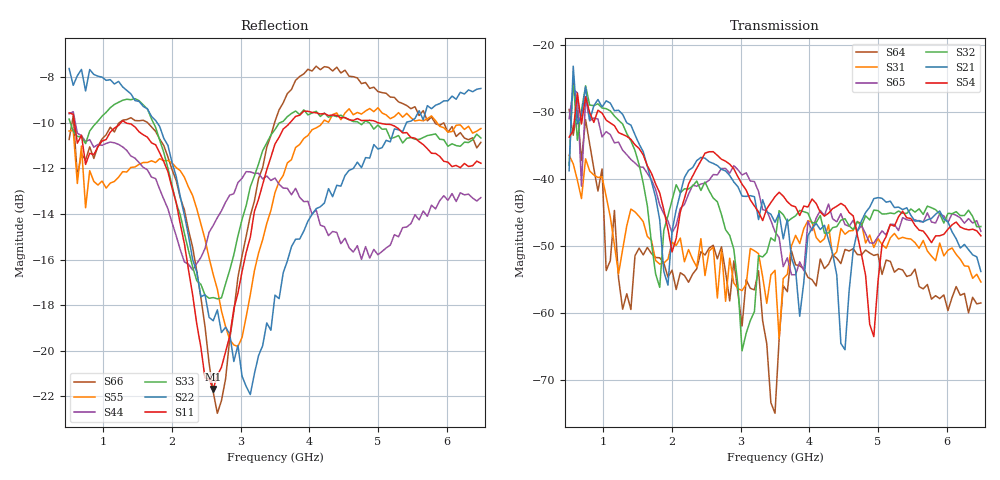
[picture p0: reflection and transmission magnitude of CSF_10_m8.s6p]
!Keysight Technologies,M9804A,MY58100912,A.14.10.03
!Date: Thursday, April 27, 2023 10:28:33
!Correction: S11(C  6-Port  )
!S12(C  6-Port  )
!S13(C  6-Port  )
!S14(C  6-Port  )
!S15(C  6-Port  )
!S16(C  6-Port  )
!S21(C  6-Port  )
!S22(C  6-Port  )
!S23(C  6-Port  )
!S24(C  6-Port  )
!S25(C  6-Port  )
!S26(C  6-Port  )
!S31(C  6-Port  )
!S32(C  6-Port  )
!S33(C  6-Port  )
!S34(C  6-Port  )
!S35(C  6-Port  )
!S36(C  6-Port  )
!S41(C  6-Port  )
!S42(C  6-Port  )
!S43(C  6-Port  )
!S44(C  6-Port  )
!S45(C  6-Port  )
!S46(C  6-Port  )
!S51(C  6-Port  )
!S52(C  6-Port  )
!S53(C  6-Port  )
!S54(C  6-Port  )
!S55(C  6-Port  )
!S56(C  6-Port  )
!S61(C  6-Port  )
!S62(C  6-Port  )
!S63(C  6-Port  )
!S64(C  6-Port  )
!S65(C  6-Port  )
!S66(C  6-Port  )
!S6P File: Measurement: :
# Hz S  RI  R 50
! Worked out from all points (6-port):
!   101 points, 500 MHz to 6.5 GHz, reference 50 ohm
!   strongest paths, dB at 500 MHz, 2 GHz, 3.5 GHz, 5 GHz, 6.5 GHz:
!     S54: -33.7, -50.9, -42.6, -55.4, -48.5
!     S21: -38.8, -47.7, -46.5, -42.8, -53.8
!     S32: -37.9, -43.2, -49.3, -44.7, -47.1
!     S65: -31.0, -48.0, -47.9, -48.6, -47.8
!     S31: -36.5, -49.4, -53.6, -48.9, -55.4
!     S64: -29.6, -53.6, -75.0, -51.2, -58.5
!   lowest |S11| = -21.7 dB at 2.6 GHz (marker M1), VSWR 1.18, Z = 42.6 + j2.04 ohm
!   |S11| at or under -10 dB: 577.7 MHz to 1.253 GHz (674.9 MHz wide, 73.7 % of centre); 1.331 GHz to 3.716 GHz (2.385 GHz wide, 94.5 % of centre); 5.012 GHz to end of sweep
